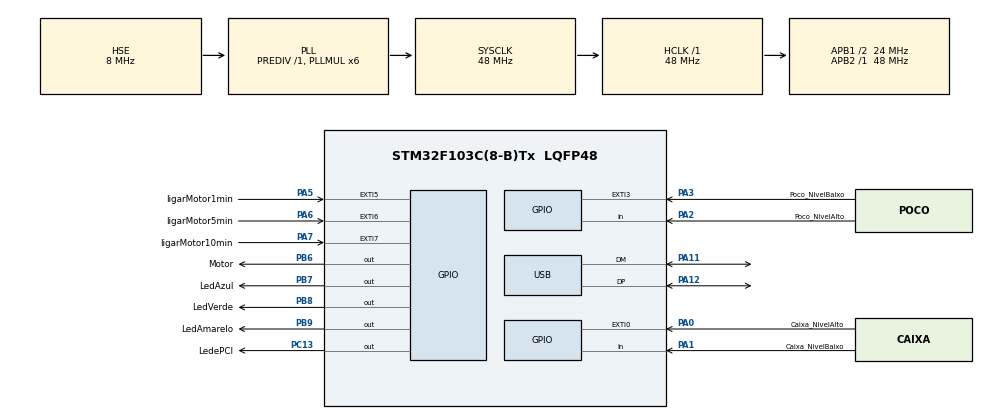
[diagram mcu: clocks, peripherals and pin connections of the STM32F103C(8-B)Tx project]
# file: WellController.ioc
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Mcu.Family=STM32F1
PA2.GPIO_PuPd=GPIO_PULLDOWN
USB_DEVICE.CLASS_NAME_FS=CDC
PA3.GPIO_PuPd=GPIO_PULLDOWN
PB9.GPIO_ModeDefaultOutputPP=GPIO_MODE_OUTPUT_PP
NVIC.EXTI3_IRQn=true\:15\:0\:true\:false\:true\:false\:true\:true
PA11.Mode=Device
PA6.GPIO_Label=ligarMotor5min
PB6.GPIO_Label=Motor
NVIC.TIM1_UP_IRQn=true\:0\:0\:false\:false\:true\:false\:false\:true
RCC.SYSCLKSource=RCC_SYSCLKSOURCE_PLLCLK
ProjectManager.StackSize=0x400
PD1-OSC_OUT.Signal=RCC_OSC_OUT
PA12.Signal=USB_DP
RCC.HCLKFreq_Value=48000000
RCC.APB2TimFreq_Value=48000000
PB6.Signal=GPIO_Output
PA1.GPIO_PuPd=GPIO_PULLDOWN
RCC.AHBFreq_Value=48000000
FREERTOS.configUSE_TIMERS=1
RCC.PLLMUL=RCC_PLL_MUL6
PA6.GPIO_PuPd=GPIO_PULLDOWN
PA14.Mode=Serial_Wire
VP_SYS_VS_tim1.Mode=TIM1
PA5.GPIO_PuPd=GPIO_PULLDOWN
PB7.Signal=GPIO_Output
VP_FREERTOS_VS_CMSIS_V1.Mode=CMSIS_V1
PB7.GPIO_Label=LedAzul
Mcu.Package=LQFP48
PB9.Signal=GPIO_Output
PA6.Signal=GPXTI6
NVIC.TimeBase=TIM1_UP_IRQn
PC13-TAMPER-RTC.GPIO_PuPd=GPIO_NOPULL
PA2.GPIO_Label=Poco_NivelAlto
PB6.GPIO_ModeDefaultOutputPP=GPIO_MODE_OUTPUT_PP
NVIC.TimeBaseIP=TIM1
PB9.GPIO_PuPd=GPIO_NOPULL
PB8.GPIO_ModeDefaultOutputPP=GPIO_MODE_OUTPUT_PP
RCC.APB1TimFreq_Value=48000000
PA3.Signal=GPXTI3
PB7.GPIO_PuPd=GPIO_NOPULL
FREERTOS.Tasks01=defaultTask,0,128,StartDefaultTask,Default,NULL,Dynamic,NULL,NULL;taskMotorLigado,-3,128,StartTask03,Default,NULL,Dynamic,NULL,NULL;btnLigarMtr,2,128,ligarMotor,Default,NULL,Dynamic,NULL,NULL
PD1-OSC_OUT.Mode=HSE-External-Oscillator
PB9.GPIO_Label=LedAmarelo
USB_DEVICE.VirtualModeFS=Cdc_FS
PB6.GPIO_PuPd=GPIO_NOPULL
PB8.GPIO_PuPd=GPIO_NOPULL
PC13-TAMPER-RTC.Signal=GPIO_Output
PD0-OSC_IN.Signal=RCC_OSC_IN
RCC.APB1CLKDivider=RCC_HCLK_DIV2
PA0-WKUP.GPIO_Label=Caixa_NivelAlto
PA0-WKUP.Signal=GPXTI0
PA13.Signal=SYS_JTMS-SWDIO
PB8.GPIO_Label=LedVerde
ProjectManager.TargetToolchain=STM32CubeIDE
VP_USB_DEVICE_VS_USB_DEVICE_CDC_FS.Mode=CDC_FS
RCC.USBFreq_Value=48000000
PA7.GPIO_PuPd=GPIO_PULLDOWN
PA1.Signal=GPIO_Input
PD0-OSC_IN.Mode=HSE-External-Oscillator
PA5.Signal=GPXTI5
board=custom
PC13-TAMPER-RTC.GPIO_Label=LedePCI
RCC.APB2Freq_Value=48000000
PB7.GPIO_ModeDefaultOutputPP=GPIO_MODE_OUTPUT_PP
NVIC.USB_LP_CAN1_RX0_IRQn=true\:5\:0\:false\:false\:true\:true\:false\:true
PA1.GPIO_Label=Caixa_NivelBaixo
PA13.Mode=Serial_Wire
Mcu.Name=STM32F103C(8-B)Tx
PA2.Signal=GPIO_Input
NVIC.EXTI0_IRQn=true\:15\:0\:true\:false\:true\:false\:true\:true
RCC.SYSCLKFreq_VALUE=48000000
PC13-TAMPER-RTC.GPIO_ModeDefaultOutputPP=GPIO_MODE_OUTPUT_PP
PA7.GPIO_Label=ligarMotor10min
PA12.Mode=Device
PA5.GPIO_Label=ligarMotor1min
PA11.Signal=USB_DM
NVIC.EXTI9_5_IRQn=true\:15\:0\:true\:false\:true\:false\:true\:true
PA14.Signal=SYS_JTCK-SWCLK
ProjectManager.HeapSize=0x200
NVIC.PriorityGroup=NVIC_PRIORITYGROUP_4
PB8.Signal=GPIO_Output
PA0-WKUP.GPIO_PuPd=GPIO_PULLDOWN
RCC.APB1Freq_Value=24000000
USB_DEVICE.VirtualMode=Cdc
PA3.GPIO_Label=Poco_NivelBaixo
PA7.Signal=GPXTI7

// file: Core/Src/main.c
/* USER CODE BEGIN Header */
/**
  ******************************************************************************
  * @file           : main.c
  * @brief          : Main program body
  ******************************************************************************
  * @attention
  *
  * <h2><center>&copy; Copyright (c) 2020 STMicroelectronics.
  * All rights reserved.</center></h2>
  *
  * This software component is licensed by ST under Ultimate Liberty license
  * SLA0044, the "License"; You may not use this file except in compliance with
  * the License. You may obtain a copy of the License at:
  *                             www.st.com/SLA0044
  *
  ******************************************************************************
  */
/* USER CODE END Header */
#include "main.h"
#include "cmsis_os.h"
#include "usb_device.h"

/* USER CODE BEGIN Includes */
#include "stdio.h"
/* USER CODE END Includes */

/* USER CODE BEGIN PTD */
int _write(int file, char *ptr, int len)
{
  /* Implement your write code here, this is used by puts and printf for example */
  int i=0;
  for(i=0 ; i<len ; i++)
    ITM_SendChar((*ptr++));
  return len;
}
/* USER CODE END PTD */

osThreadId defaultTaskHandle;
osThreadId taskMotorLigadoHandle;
osThreadId btnLigarMtrHandle;

void SystemClock_Config(void);
static void MX_GPIO_Init(void);
void StartDefaultTask(void const * argument);
void StartTask03(void const * argument);
void ligarMotor(void const * argument);

/* USER CODE BEGIN PFP */
void trataInterrupcao(uint16_t);
int checkDebounce(uint16_t,GPIO_TypeDef  *);
static QueueHandle_t Queue_StartMotor = NULL;
static QueueHandle_t Queue_StopMotor  = NULL;
static QueueHandle_t Queue_delayLedAzul  = NULL;

/* USER CODE END PFP */

int main(void)
{

  /* MCU Configuration--------------------------------------------------------*/

  /* Reset of all peripherals, Initializes the Flash interface and the Systick. */
  HAL_Init();

  /* Configure the system clock */
  SystemClock_Config();

  /* Initialize all configured peripherals */
  MX_GPIO_Init();

  /* USER CODE BEGIN RTOS_QUEUES */
  /* add queues, ... */
  Queue_StartMotor = xQueueCreate( 10, sizeof(int*));
  Queue_StopMotor = xQueueCreate( 10, sizeof(int*));
  Queue_delayLedAzul = xQueueCreate( 5, sizeof(int*));

  /* USER CODE END RTOS_QUEUES */

  /* Create the thread(s) */
  /* definition and creation of defaultTask */
  osThreadDef(defaultTask, StartDefaultTask, osPriorityNormal, 0, 128);
  defaultTaskHandle = osThreadCreate(osThread(defaultTask), NULL);

  /* definition and creation of taskMotorLigado */
  osThreadDef(taskMotorLigado, StartTask03, osPriorityIdle, 0, 128);
  taskMotorLigadoHandle = osThreadCreate(osThread(taskMotorLigado), NULL);

  /* definition and creation of btnLigarMtr */
  osThreadDef(btnLigarMtr, ligarMotor, osPriorityHigh, 0, 128);
  btnLigarMtrHandle = osThreadCreate(osThread(btnLigarMtr), NULL);

  /* Start scheduler */
  osKernelStart();

  /* We should never get here as control is now taken by the scheduler */
  /* Infinite loop */
  while (1)
  {

  }
}

void SystemClock_Config(void)
{
  RCC_OscInitTypeDef RCC_OscInitStruct = {0};
  RCC_ClkInitTypeDef RCC_ClkInitStruct = {0};
  RCC_PeriphCLKInitTypeDef PeriphClkInit = {0};

  /** Initializes the RCC Oscillators according to the specified parameters
  * in the RCC_OscInitTypeDef structure.
  */
  RCC_OscInitStruct.OscillatorType = RCC_OSCILLATORTYPE_HSE;
  RCC_OscInitStruct.HSEState = RCC_HSE_ON;
  RCC_OscInitStruct.HSEPredivValue = RCC_HSE_PREDIV_DIV1;
  RCC_OscInitStruct.HSIState = RCC_HSI_ON;
  RCC_OscInitStruct.PLL.PLLState = RCC_PLL_ON;
  RCC_OscInitStruct.PLL.PLLSource = RCC_PLLSOURCE_HSE;
  RCC_OscInitStruct.PLL.PLLMUL = RCC_PLL_MUL6;
  if (HAL_RCC_OscConfig(&RCC_OscInitStruct) != HAL_OK)
  {
    Error_Handler();
  }
  /** Initializes the CPU, AHB and APB buses clocks
  */
  RCC_ClkInitStruct.ClockType = RCC_CLOCKTYPE_HCLK|RCC_CLOCKTYPE_SYSCLK
                              |RCC_CLOCKTYPE_PCLK1|RCC_CLOCKTYPE_PCLK2;
  RCC_ClkInitStruct.SYSCLKSource = RCC_SYSCLKSOURCE_PLLCLK;
  RCC_ClkInitStruct.AHBCLKDivider = RCC_SYSCLK_DIV1;
  RCC_ClkInitStruct.APB1CLKDivider = RCC_HCLK_DIV2;
  RCC_ClkInitStruct.APB2CLKDivider = RCC_HCLK_DIV1;

  if (HAL_RCC_ClockConfig(&RCC_ClkInitStruct, FLASH_LATENCY_1) != HAL_OK)
  {
    Error_Handler();
  }
  PeriphClkInit.PeriphClockSelection = RCC_PERIPHCLK_USB;
  PeriphClkInit.UsbClockSelection = RCC_USBCLKSOURCE_PLL;
  if (HAL_RCCEx_PeriphCLKConfig(&PeriphClkInit) != HAL_OK)
  {
    Error_Handler();
  }
}

static void MX_GPIO_Init(void)
{
  GPIO_InitTypeDef GPIO_InitStruct = {0};

  /* GPIO Ports Clock Enable */
  __HAL_RCC_GPIOC_CLK_ENABLE();
  __HAL_RCC_GPIOD_CLK_ENABLE();
  __HAL_RCC_GPIOA_CLK_ENABLE();
  __HAL_RCC_GPIOB_CLK_ENABLE();

  /*Configure GPIO pin Output Level */
  HAL_GPIO_WritePin(LedePCI_GPIO_Port, LedePCI_Pin, GPIO_PIN_RESET);

  /*Configure GPIO pin Output Level */
  HAL_GPIO_WritePin(GPIOB, Motor_Pin|LedAzul_Pin|LedVerde_Pin|LedAmarelo_Pin, GPIO_PIN_RESET);

  /*Configure GPIO pin : LedePCI_Pin */
  GPIO_InitStruct.Pin = LedePCI_Pin;
  GPIO_InitStruct.Mode = GPIO_MODE_OUTPUT_PP;
  GPIO_InitStruct.Pull = GPIO_NOPULL;
  GPIO_InitStruct.Speed = GPIO_SPEED_FREQ_LOW;
  HAL_GPIO_Init(LedePCI_GPIO_Port, &GPIO_InitStruct);

  /*Configure GPIO pins : Caixa_NivelAlto_Pin Poco_NivelBaixo_Pin ligarMotor1min_Pin ligarMotor5min_Pin
                           ligarMotor10min_Pin */
  GPIO_InitStruct.Pin = Caixa_NivelAlto_Pin|Poco_NivelBaixo_Pin|ligarMotor1min_Pin|ligarMotor5min_Pin
                          |ligarMotor10min_Pin;
  GPIO_InitStruct.Mode = GPIO_MODE_IT_RISING;
  GPIO_InitStruct.Pull = GPIO_PULLDOWN;
  HAL_GPIO_Init(GPIOA, &GPIO_InitStruct);

  /*Configure GPIO pins : Caixa_NivelBaixo_Pin Poco_NivelAlto_Pin */
  GPIO_InitStruct.Pin = Caixa_NivelBaixo_Pin|Poco_NivelAlto_Pin;
  GPIO_InitStruct.Mode = GPIO_MODE_INPUT;
  GPIO_InitStruct.Pull = GPIO_PULLDOWN;
  HAL_GPIO_Init(GPIOA, &GPIO_InitStruct);

  /*Configure GPIO pins : Motor_Pin LedAzul_Pin LedVerde_Pin LedAmarelo_Pin */
  GPIO_InitStruct.Pin = Motor_Pin|LedAzul_Pin|LedVerde_Pin|LedAmarelo_Pin;
  GPIO_InitStruct.Mode = GPIO_MODE_OUTPUT_PP;
  GPIO_InitStruct.Pull = GPIO_NOPULL;
  GPIO_InitStruct.Speed = GPIO_SPEED_FREQ_LOW;
  HAL_GPIO_Init(GPIOB, &GPIO_InitStruct);

  /* EXTI interrupt init*/
  HAL_NVIC_SetPriority(EXTI0_IRQn, 15, 0);
  HAL_NVIC_EnableIRQ(EXTI0_IRQn);

  HAL_NVIC_SetPriority(EXTI3_IRQn, 15, 0);
  HAL_NVIC_EnableIRQ(EXTI3_IRQn);

  HAL_NVIC_SetPriority(EXTI9_5_IRQn, 15, 0);
  HAL_NVIC_EnableIRQ(EXTI9_5_IRQn);

}

/* USER CODE BEGIN 4 */
BaseType_t xHigherPriorityTaskWoken;
void trataInterrupcao(uint16_t GPIO_Pin){
  switch(GPIO_Pin){
    case Poco_NivelBaixo_Pin:{
      if(checkDebounce(Poco_NivelBaixo_Pin, GPIOA) == 1){
          uint8_t paradaTipo = 2;
          xQueueSendToFrontFromISR(Queue_StopMotor, &paradaTipo, &xHigherPriorityTaskWoken);
      }
    }
    break;
    case Caixa_NivelAlto_Pin:{
      if(checkDebounce(Caixa_NivelAlto_Pin, GPIOA) == 1){
        uint8_t paradaTipo = 1;
        xQueueSendToFrontFromISR(Queue_StopMotor, &paradaTipo, &xHigherPriorityTaskWoken);
      }
    }
    break;
    case ligarMotor1min_Pin:{
      if(checkDebounce(ligarMotor1min_Pin, GPIOA) == 1){
        uint8_t tempoMotor = 1;
        xQueueSendToFrontFromISR(Queue_StartMotor, &tempoMotor, &xHigherPriorityTaskWoken);
      }
    }
    break;
    case ligarMotor5min_Pin:{
      if(checkDebounce(ligarMotor5min_Pin, GPIOA) == 1){
        uint8_t tempoMotor = 5;
        xQueueSendToFrontFromISR(Queue_StartMotor, &tempoMotor, &xHigherPriorityTaskWoken);
      }
    }
    break;
    case ligarMotor10min_Pin:{
      if(checkDebounce(ligarMotor10min_Pin, GPIOA) == 1){
        uint8_t tempoMotor = 10;
        xQueueSendToFrontFromISR(Queue_StartMotor, &tempoMotor, &xHigherPriorityTaskWoken);
        return;
      }
      return;
    }
    break;
  }
}

int checkDebounce(uint16_t GPIO_Pin, GPIO_TypeDef  *GPIO_Port){
 int inputLow = 0;
  for(int i=0;i<100000;i++){
    if(HAL_GPIO_ReadPin(GPIO_Port,GPIO_Pin)==0){
      inputLow++;
    }
  }

  if(inputLow < 15){
    return 1;
  }
  return 0;
}
/* USER CODE END 4 */

/* USER CODE BEGIN Header_StartDefaultTask */
char* msg1 = "1 Aguardando Nivel Alto Poco\r\n";
char* msg2 = "2 Aguardando Nivel Baixo Caixa\r\n";
char* msg3 = "3 Ligando Motor\r\n";
char* msg4 = "4.1 Caixa_NivelAlto\r\n";
char* msg5 = "4.2 Poco_NivelBaixo\r\n";
char* msg6 = "5 Btn Para Ligar Motor acionado\r\n";
char* msg7 = "6 Btn Para Ligar Motor fim Execucao\r\n";
char* msgTempoMaximoMotor = "7 Tempo maximo de motor ligado excedido\r\n";
char* newline = "\r\n\r\n";
int print = 1;
int tempoMaximoMotorLigado = 15;
/**
  * @brief  Function implementing the defaultTask thread.
  * @param  argument: Not used
  * @retval None
  */
/* USER CODE END Header_StartDefaultTask */
void StartDefaultTask(void const * argument)
{
  /* init code for USB_DEVICE */
  MX_USB_DEVICE_Init();
  printf("Iniciando...\n");
  /* USER CODE BEGIN 5 */
  uint8_t tipoParada;
  int delayLedAzul = 1000;
  /* Infinite loop */
  for(;;)
  {
    vTaskSuspend(taskMotorLigadoHandle);
    HAL_GPIO_WritePin(GPIOB, Motor_Pin, GPIO_PIN_RESET);
    HAL_GPIO_WritePin(GPIOB, LedAzul_Pin, GPIO_PIN_RESET);
    HAL_GPIO_WritePin(LedePCI_GPIO_Port, LedePCI_Pin, GPIO_PIN_RESET);
    while(uxQueueMessagesWaiting( Queue_StopMotor ) != 0){
      xQueueReceive(Queue_StopMotor, &tipoParada, 0);
      vTaskDelay(10);
    }
    //1 Nivel Alto Poco

    if(print == 1){
      CDC_Transmit_FS(newline, strlen(newline));
      CDC_Transmit_FS(msg1, strlen(msg1));
      printf("%s", msg1);
    }
    int tempoParaApagarLeds = 60 * 5;//Minutos
    int counter = 0;
    while(HAL_GPIO_ReadPin(GPIOA,Poco_NivelAlto_Pin)==0){
      vTaskDelay(1000);
      HAL_GPIO_WritePin(LedePCI_GPIO_Port, LedePCI_Pin, GPIO_PIN_RESET);
      vTaskDelay(1000);
      HAL_GPIO_WritePin(LedePCI_GPIO_Port, LedePCI_Pin, GPIO_PIN_SET);
      counter++;
      if(counter >= tempoParaApagarLeds){
        counter = 0;
        HAL_GPIO_WritePin(GPIOB, Motor_Pin|LedAzul_Pin|LedAmarelo_Pin|LedVerde_Pin, GPIO_PIN_RESET);
        while(uxQueueMessagesWaiting( Queue_StopMotor ) != 0){
          xQueueReceive(Queue_StopMotor, &tipoParada, 0);
          vTaskDelay(10);
        }
      }
      print = 1;
    }

    HAL_GPIO_WritePin(LedePCI_GPIO_Port, LedePCI_Pin, GPIO_PIN_SET);
    if(print == 1){
      CDC_Transmit_FS(msg2, strlen(msg2));
      printf("%s", msg2);
      print = 0;
    }
    vTaskDelay(1000);
    if(HAL_GPIO_ReadPin(GPIOA,Caixa_NivelBaixo_Pin)==0){
        print = 1;
        CDC_Transmit_FS(msg3, strlen(msg3));
        printf("%s", msg3);
        HAL_GPIO_WritePin(GPIOB, Motor_Pin, GPIO_PIN_SET);
        HAL_GPIO_WritePin(GPIOB, LedAzul_Pin, GPIO_PIN_SET);

        xQueueSend(Queue_delayLedAzul, &delayLedAzul, 10);
        vTaskResume(taskMotorLigadoHandle);

        HAL_GPIO_WritePin(GPIOB, LedAmarelo_Pin, GPIO_PIN_RESET);
        HAL_GPIO_WritePin(GPIOB, LedVerde_Pin, GPIO_PIN_RESET);
        for(;;){
           int tempoMotorLigado = 0;
           while(uxQueueMessagesWaiting( Queue_StopMotor ) == 0 && tempoMotorLigado < (tempoMaximoMotorLigado * 60)){
             vTaskDelay(1000);
             tempoMotorLigado++;
           }

           if(tempoMotorLigado >= (tempoMaximoMotorLigado * 60)){
             CDC_Transmit_FS(msgTempoMaximoMotor, strlen(msg4));
             printf("%s", msgTempoMaximoMotor);
             printf("%s", msg4);
             HAL_GPIO_WritePin(GPIOB, LedVerde_Pin, GPIO_PIN_SET);
             HAL_GPIO_WritePin(GPIOB, LedAmarelo_Pin, GPIO_PIN_SET);
             break;
           }
           else {
              xQueueReceive(Queue_StopMotor, &tipoParada, 0);

              //Caixa Cheia
              if(tipoParada==1){
                CDC_Transmit_FS(msg4, strlen(msg4));
                printf("%s", msg4);
                HAL_GPIO_WritePin(GPIOB, LedVerde_Pin, GPIO_PIN_SET);
                break;
              }

              //Poco Vazio
              if(tipoParada == 2){
                CDC_Transmit_FS(msg5, strlen(msg5));
                printf("%s", msg5);
                HAL_GPIO_WritePin(GPIOB, LedAmarelo_Pin, GPIO_PIN_SET);
                break;
              }
           }
          //printf("4.3 Enchendo a caixa...");
        }
      }

    }
  /* USER CODE END 5 */
}

void StartTask03(void const * argument)
{
  /* USER CODE BEGIN StartTask03 */
  /* Infinite loop */
  int delayLedAzul = 1000;
  for(;;)
  {
    while(uxQueueMessagesWaiting( Queue_delayLedAzul ) != 0){
        xQueueReceive(Queue_delayLedAzul, &delayLedAzul, 0);
        vTaskDelay(1);
    }

    HAL_GPIO_WritePin(GPIOB, LedAzul_Pin, GPIO_PIN_SET);
    vTaskDelay(delayLedAzul);
    HAL_GPIO_WritePin(GPIOB, LedAzul_Pin, GPIO_PIN_RESET);
    vTaskDelay(delayLedAzul);
  }
  /* USER CODE END StartTask03 */
}

void ligarMotor(void const * argument)
{
  /* USER CODE BEGIN ligarMotor */
  /* Infinite loop */
  uint8_t tempoMotorLigado;
  for(;;)
  {
    while(uxQueueMessagesWaiting( Queue_StartMotor ) == 0){
       vTaskDelay(500);
    }

    while(uxQueueMessagesWaiting( Queue_StartMotor ) != 0){
      xQueueReceive(Queue_StartMotor, &tempoMotorLigado, 0);
      vTaskDelay(10);
   }

    vTaskSuspend(defaultTaskHandle);
    CDC_Transmit_FS(msg6, strlen(msg6));
    printf("%s", msg6);
    HAL_GPIO_WritePin(GPIOB, Motor_Pin, GPIO_PIN_SET);
    HAL_GPIO_WritePin(GPIOB, LedAzul_Pin, GPIO_PIN_SET);

    int delayLedAzul = 100;
    switch(tempoMotorLigado){
      case 1:
        delayLedAzul = 200;
        break;
      case 5:
        delayLedAzul = 500;
        break;
      case 10:
        delayLedAzul = 700;
        break;
    }
    xQueueSend(Queue_delayLedAzul, &delayLedAzul, 10);
    vTaskResume(taskMotorLigadoHandle);
    int tempoMotorLigadoTemp = tempoMotorLigado * 60; //10 minutos
    for(int i=0;i<tempoMotorLigadoTemp*2;i++){
      if(uxQueueMessagesWaiting( Queue_StopMotor ) != 0){
        uint8_t tipoParada = 0;
        xQueueReceive(Queue_StopMotor, &tipoParada, 0);
        //Poco Vazio
        if(tipoParada == 2){
          CDC_Transmit_FS(msg5, strlen(msg5));
          printf("%s", msg5);
          HAL_GPIO_WritePin(GPIOB, LedAmarelo_Pin, GPIO_PIN_SET);
          break;
        }
      }
      vTaskDelay(500);
    }
    vTaskSuspend(taskMotorLigadoHandle);
    HAL_GPIO_WritePin(GPIOB, Motor_Pin, GPIO_PIN_RESET);
    HAL_GPIO_WritePin(GPIOB, LedAzul_Pin, GPIO_PIN_RESET);
    CDC_Transmit_FS(msg7, strlen(msg7));
    printf("%s", msg7);

    while(uxQueueMessagesWaiting( Queue_StartMotor ) != 0){
      xQueueReceive(Queue_StartMotor, &tempoMotorLigado, 0);
      vTaskDelay(10);
   }
    vTaskResume(defaultTaskHandle);
  }
  /* USER CODE END ligarMotor */
}

 /**
  * @brief  Period elapsed callback in non blocking mode
  * @note   This function is called  when TIM1 interrupt took place, inside
  * HAL_TIM_IRQHandler(). It makes a direct call to HAL_IncTick() to increment
  * a global variable "uwTick" used as application time base.
  * @param  htim : TIM handle
  * @retval None
  */
void HAL_TIM_PeriodElapsedCallback(TIM_HandleTypeDef *htim)
{
  if (htim->Instance == TIM1) {
    HAL_IncTick();
  }
}

void Error_Handler(void)
{
}

/************************ (C) COPYRIGHT STMicroelectronics *****END OF FILE****/
